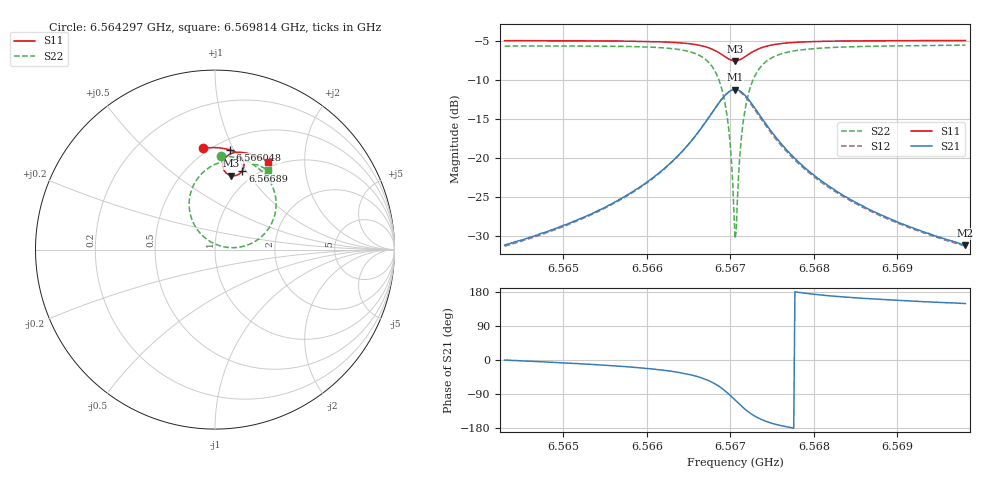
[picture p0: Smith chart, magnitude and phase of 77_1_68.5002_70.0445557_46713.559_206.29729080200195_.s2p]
#  HZ  S  RI  R  50.00
! Rohde & Schwarz Vector Network Analyzer
! Rohde-Schwarz,ZNB20-2Port,1311601062101988,3.16
! Created: UTC 3/20/2024, 5:07:08 PM
! freq[Hz]  re:S11  im:S11  re:S21  im:S21  re:S12  im:S12  re:S22  im:S22
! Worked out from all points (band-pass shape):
!   401 points, 6.564297 GHz to 6.569814 GHz, reference 50 ohm
!   highest |S21| = -11.18 dB at 6.567055 GHz (marker M1); lowest = -31.2 dB at 6.569814 GHz (marker M2)
!   |S21| within 3 dB of the highest: 6.56678 GHz to 6.567332 GHz (551.9 kHz wide, 0.0084 % of centre)
!   lowest |S11| = -7.5 dB at 6.567055 GHz (marker M3), VSWR 2.46, Z = 41.1 + j41.3 ohm
!   |S11| at or under -10 dB: nowhere
!   |S22| runs from -30.3 to -5.5 dB; largest |S21 - S12| = 0.013
!   S11 on the Smith chart (normalised r, x): 6.564297 GHz: 0.46, +0.77; 6.566048 GHz: 0.60, +0.97; 6.56689 GHz: 0.86, +0.97; 6.569814 GHz: 0.92, +1.33
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6.5642967e9  -0.0675 0.5651  0.0276 -0.000147  0.0271 -0.000518  0.0319 0.5243
6.5652207e9  0.00795 0.568  0.0406 -0.00729  0.0398 -0.00796  0.1186 0.5118
6.5660483e9  0.0844 0.5555  0.0671 -0.029  0.0661 -0.0297  0.2238 0.466
6.5661448e9  0.0944 0.552  0.0723 -0.0346  0.0712 -0.0356  0.2399 0.4545
6.5664483e9  0.1291 0.5331  0.093 -0.0666  0.0916 -0.0678  0.2986 0.3917
6.5666689e9  0.1544 0.5022  0.1066 -0.1199  0.1042 -0.1222  0.3382 0.2886
6.5667931e9  0.1612 0.4716  0.0996 -0.1737  0.0953 -0.1767  0.3311 0.1865
6.5668896e9  0.1526 0.4405  0.0675 -0.2268  0.0602 -0.2297  0.274 0.0866
6.5669724e9  0.1277 0.4172  0.00818 -0.264  -0.00257 -0.2644  0.1653 0.0202
6.567e9  0.1157 0.4129  -0.0181 -0.2701  -0.0294 -0.2684  0.118 0.0115
6.5670413e9  0.0962 0.4115  -0.06 -0.2691  -0.0714 -0.2646  0.0436 0.0167
6.5670551e9  0.0895 0.4125  -0.0739 -0.2661  -0.0851 -0.2604  0.0191 0.0237
6.5670689e9  0.083 0.4143  -0.0874 -0.2616  -0.0983 -0.255  -0.00408 0.0332
6.5670827e9  0.0769 0.4169  -0.1004 -0.2558  -0.1107 -0.2483  -0.0261 0.0448
6.5671241e9  0.0608 0.4279  -0.1344 -0.2321  -0.1426 -0.2224  -0.0822 0.0909
6.5671655e9  0.0499 0.4427  -0.1586 -0.2019  -0.164 -0.1911  -0.1198 0.1469
6.5672206e9  0.0432 0.4642  -0.1757 -0.1597  -0.1778 -0.149  -0.1424 0.2229
6.5672896e9  0.0454 0.4882  -0.1784 -0.1127  -0.1775 -0.1035  -0.1383 0.3047
6.5675379e9  0.0837 0.5323  -0.1352 -0.0249  -0.1323 -0.021  -0.0408 0.4512
6.5679792e9  0.1445 0.5422  -0.0788 0.00847  -0.0769 0.00961  0.0883 0.4972
6.5689033e9  0.2297 0.5209  -0.0381 0.0148  -0.0372 0.0151  0.2182 0.4788
6.5698136e9  0.2965 0.4878  -0.0235 0.0142  -0.0231 0.0144  0.2968 0.4418
